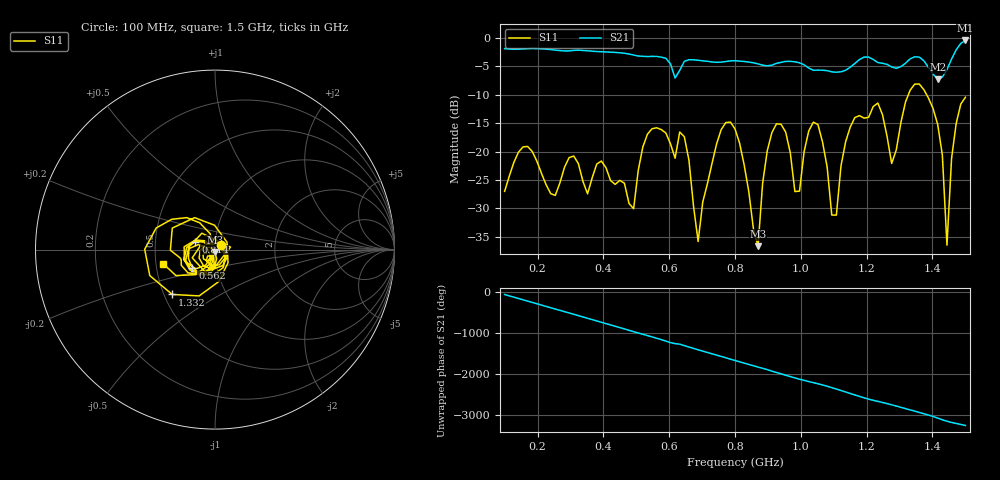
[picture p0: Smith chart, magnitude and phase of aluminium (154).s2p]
! NanoVNA-App
! Date: 2025-09-25 14:56:28
! Start: 100MHz Stop: 1,5GHz Points: 101
! S-Parameter data: F S11 S21 S12 S22
# Hz S RI R 50
!  Frequency  S11_Real  S11_Imag  S21_Real  S21_Imag  S12_Real  S12_Imag  S22_Real  S22_Imag
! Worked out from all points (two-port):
!   101 points, 100 MHz to 1.5 GHz, reference 50 ohm
!   highest |S21| = -0.48 dB at 1.5 GHz (marker M1); lowest = -7.3 dB at 1.416 GHz (marker M2)
!   |S21| within 3 dB of the highest: start of sweep to 580.9 MHz; 1.46 GHz to end of sweep (the widest 2 of 4)
!   lowest |S11| = -36.6 dB at 870 MHz (marker M3), VSWR 1.03, Z = 49.8 - j1.46 ohm
!   |S11| at or under -10 dB: start of sweep to 1.327 GHz; 1.382 GHz to end of sweep
!   S12 and S22 are empty: the file has one direction only
!   S11 on the Smith chart (normalised r, x): 100 MHz: 1.07, +0.06; 562 MHz: 0.76, -0.16; 814 MHz: 0.80, +0.07; 1.332 GHz: 0.55, -0.31; 1.5 GHz: 0.55, -0.09
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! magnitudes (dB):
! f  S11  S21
! 100 MHz  -27.0  -1.9
! 338 MHz  -25.2  -2.2
! 492 MHz  -30.0  -3.0
! 562 MHz  -15.8  -3.3
! 576 MHz  -16.1  -3.4
! 646 MHz  -17.4  -4.2
! 688 MHz  -35.8  -4.0
! 800 MHz  -16.0  -4.0
! 814 MHz  -18.5  -4.1
! 870 MHz  -36.6  -4.6
! 912 MHz  -16.7  -4.8
! 996 MHz  -26.9  -4.4
! 1.038 GHz  -14.8  -5.7
! 1.094 GHz  -31.1  -6.0
! 1.164 GHz  -14.0  -4.5
! 1.234 GHz  -11.5  -4.4
! 1.276 GHz  -22.1  -5.1
! 1.332 GHz  -9.2  -3.7
! 1.416 GHz  -15.3  -7.3
! 1.444 GHz  -36.4  -5.6
! 1.458 GHz  -21.2  -3.7
! 1.5 GHz  -10.5  -0.5
